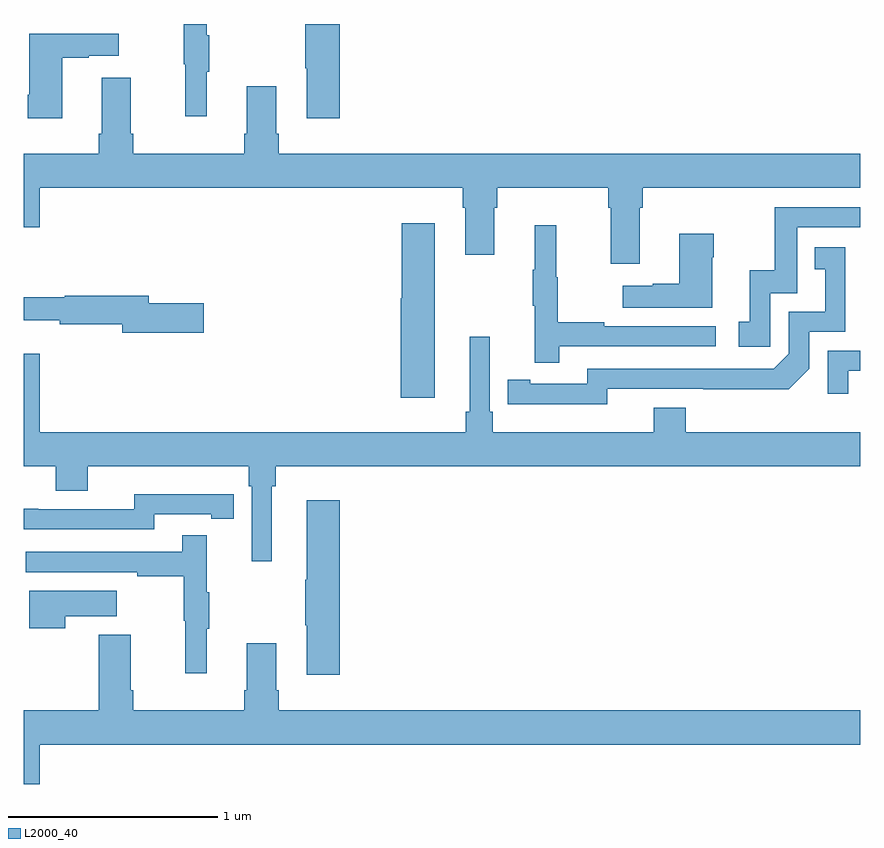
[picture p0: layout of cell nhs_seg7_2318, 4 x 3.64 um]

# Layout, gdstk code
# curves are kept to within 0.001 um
import gdstk
lib = gdstk.Library(unit=1e-6, precision=1e-09)
def P(c, l, *ps):  # polygons
    for p in ps: c.add(gdstk.Polygon(p, *l))
L2000_40 = (2000, 40)

nhs_seg7_2318 = lib.new_cell('nhs_seg7_2318')
P(nhs_seg7_2318, L2000_40, [(261.875,1067.771),(261.886,1067.771),(261.886,1067.945),(261.875,1067.945),(261.875,1068),(261.765,1068),(261.765,1067.808),(261.772,1067.808),(261.772,1067.559),(261.875,1067.559)],
  [(262.511,1068),(262.345,1068),(262.345,1067.788),(262.352,1067.788),(262.352,1067.55),(262.511,1067.55)],
  [(261.184,1067.839),(261.311,1067.839),(261.311,1067.849),(261.454,1067.849),(261.454,1067.953),(261.026,1067.953),(261.026,1067.662),(261.019,1067.662),(261.019,1067.55),(261.184,1067.55)],
  [(263.099,1067.12),(263.111,1067.12),(263.111,1066.896),(263.251,1066.896),(263.251,1067.12),(263.264,1067.12),(263.264,1067.216),(263.795,1067.216),(263.795,1067.12),(263.807,1067.12),(263.807,1066.854),(263.947,1066.854),(263.947,1067.12),(263.96,1067.12),(263.96,1067.216),(265,1067.216),(265,1067.38),(262.22,1067.38),(262.22,1067.476),(262.207,1067.476),(262.207,1067.701),(262.067,1067.701),(262.067,1067.476),(262.055,1067.476),(262.055,1067.38),(261.524,1067.38),(261.524,1067.476),(261.511,1067.476),(261.511,1067.743),(261.371,1067.743),(261.371,1067.476),(261.359,1067.476),(261.359,1067.38),(261,1067.38),(261,1067.028),(261.076,1067.028),(261.076,1067.216),(263.099,1067.216)],
  [(264.57,1066.713),(264.699,1066.713),(264.699,1067.028),(265,1067.028),(265,1067.124),(264.591,1067.124),(264.591,1066.822),(264.473,1066.822),(264.473,1066.575),(264.42,1066.575),(264.42,1066.455),(264.57,1066.455)],
  [(262.966,1067.047),(262.808,1067.047),(262.808,1066.689),(262.802,1066.689),(262.802,1066.212),(262.966,1066.212)],
  [(263.561,1066.458),(264.31,1066.458),(264.31,1066.554),(263.777,1066.554),(263.777,1066.574),(263.554,1066.574),(263.554,1066.788),(263.546,1066.788),(263.546,1067.038),(263.444,1067.038),(263.444,1066.825),(263.433,1066.825),(263.433,1066.651),(263.444,1066.651),(263.444,1066.38),(263.561,1066.38)],
  [(264.292,1066.883),(264.3,1066.883),(264.3,1066.996),(264.134,1066.996),(264.134,1066.757),(264.008,1066.757),(264.008,1066.747),(263.865,1066.747),(263.865,1066.643),(264.292,1066.643)],
  [(263.79,1066.254),(264.658,1066.253),(264.756,1066.35),(264.756,1066.527),(264.93,1066.527),(264.93,1066.933),(264.784,1066.933),(264.784,1066.827),(264.833,1066.827),(264.833,1066.623),(264.66,1066.623),(264.66,1066.422),(264.588,1066.35),(263.694,1066.35),(263.694,1066.278),(263.422,1066.278),(263.422,1066.298),(263.314,1066.298),(263.314,1066.182),(263.79,1066.181)],
  [(261.859,1066.664),(261.598,1066.664),(261.598,1066.7),(261.194,1066.7),(261.194,1066.693),(261,1066.693),(261,1066.583),(261.172,1066.583),(261.172,1066.564),(261.47,1066.564),(261.47,1066.522),(261.859,1066.522)],
  [(262.186,1065.788),(262.205,1065.788),(262.205,1065.884),(265,1065.884),(265,1066.048),(264.167,1066.048),(264.167,1066.165),(264.014,1066.165),(264.014,1066.048),(263.243,1066.048),(263.243,1066.144),(263.229,1066.144),(263.229,1066.504),(263.132,1066.504),(263.132,1066.144),(263.113,1066.144),(263.113,1066.048),(261.076,1066.048),(261.076,1066.423),(261,1066.423),(261,1065.884),(261.152,1065.884),(261.152,1065.767),(261.304,1065.767),(261.304,1065.884),(262.076,1065.884),(262.076,1065.788),(262.089,1065.788),(262.089,1065.429),(262.186,1065.429)],
  [(264.943,1066.341),(265,1066.341),(265,1066.437),(264.846,1066.437),(264.846,1066.23),(264.943,1066.23)],
  [(261.624,1065.654),(261.896,1065.654),(261.896,1065.634),(262.004,1065.634),(262.004,1065.75),(261.896,1065.75),(261.896,1065.751),(261.528,1065.751),(261.528,1065.678),(261.068,1065.678),(261.068,1065.68),(261,1065.68),(261,1065.582),(261.624,1065.582)],
  [(262.511,1065.721),(262.352,1065.721),(262.352,1065.341),(262.345,1065.341),(262.345,1065.124),(262.352,1065.124),(262.352,1064.886),(262.511,1064.886)],
  [(261.875,1065.107),(261.886,1065.107),(261.886,1065.281),(261.875,1065.281),(261.875,1065.553),(261.757,1065.553),(261.757,1065.474),(261.009,1065.474),(261.009,1065.378),(261.541,1065.378),(261.541,1065.358),(261.765,1065.358),(261.765,1065.144),(261.772,1065.144),(261.772,1064.895),(261.875,1064.895)],
  [(261.197,1065.167),(261.445,1065.167),(261.445,1065.289),(261.026,1065.289),(261.026,1065.108),(261.197,1065.108)],
  [(261.076,1064.552),(265,1064.552),(265,1064.716),(262.22,1064.716),(262.22,1064.812),(262.207,1064.812),(262.207,1065.037),(262.067,1065.037),(262.067,1064.812),(262.055,1064.812),(262.055,1064.716),(261.524,1064.716),(261.524,1064.812),(261.511,1064.812),(261.511,1065.079),(261.359,1065.079),(261.359,1064.716),(261,1064.716),(261,1064.364),(261.076,1064.364)])

lib.write_gds('nhs_seg7_2318.gds')
